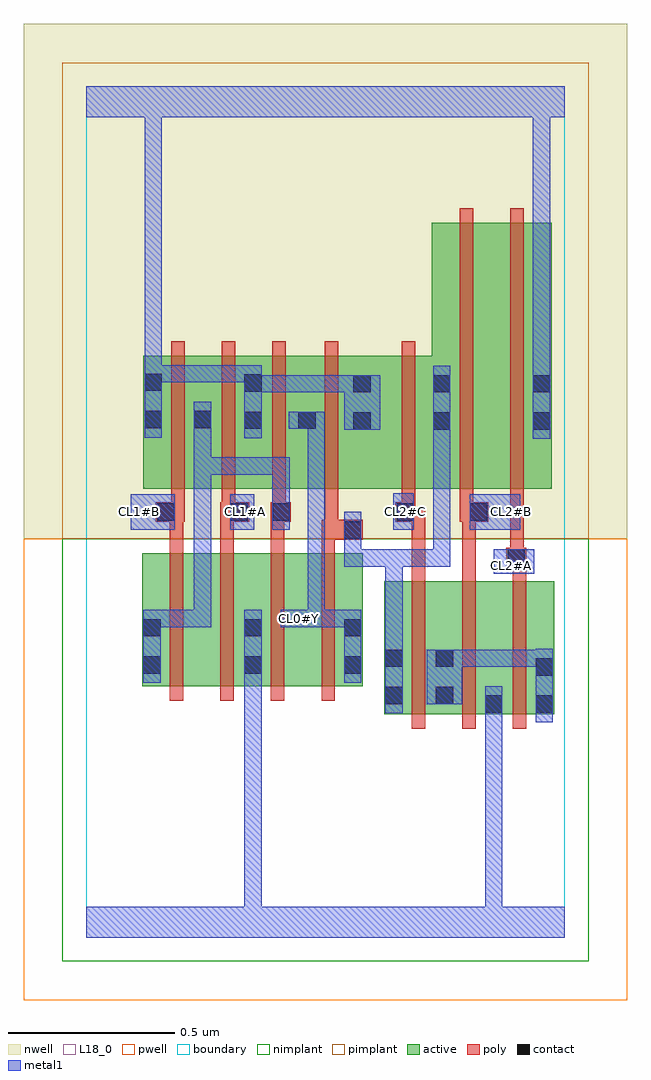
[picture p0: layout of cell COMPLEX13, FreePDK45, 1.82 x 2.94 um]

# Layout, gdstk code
import gdstk
lib = gdstk.Library(unit=1e-6, precision=1e-09)
def R(c, l, rs):  # rectangles x0, y0, x1, y1
    for r in rs: c.add(gdstk.rectangle(r[:2], r[2:], *l))
def A(c, l, x, y, w, h, nx, ny, dx, dy):  # array of equal rectangles
    R(c, l, [(x+i*dx, y+j*dy, x+i*dx+w, y+j*dy+h) for i in range(nx) for j in range(ny)])
active = (1, 0)
pwell = (2, 0)
nwell = (3, 0)
nimplant = (4, 0)
pimplant = (5, 0)
poly = (9, 0)
contact = (10, 0)
metal1 = (11, 0)
L18_0 = (18, 0)
boundary = (235, 0)

complex13 = lib.new_cell('COMPLEX13')
R(complex13, active, [(0.896,0.672,0.956,1.072), (0.896,0.672,1.108,1.072), (1.048,0.672,1.256,1.072), (1.048,0.672,1.108,1.062), (1.196,0.672,1.408,1.072), (1.196,0.672,1.256,0.902), (1.348,0.672,1.408,1.072), (0.168,0.756,0.228,1.156), (0.168,0.756,0.348,1.156), (0.348,0.756,0.532,1.156), (0.472,0.756,0.652,1.156), (0.472,0.756,0.532,0.962), (0.652,0.756,0.832,1.156), (0.772,0.756,0.832,1.156), (0.172,1.35,0.232,1.75), (0.172,1.35,0.38,1.75), (0.32,1.35,0.38,1.75), (0.32,1.35,0.532,1.75), (0.472,1.35,0.694,1.75), (0.634,1.35,0.694,1.75), (0.634,1.35,0.86,1.75), (0.8,1.35,0.86,1.75), (0.8,1.35,1.1,1.75), (1.04,1.35,1.22,2.15), (1.04,1.35,1.1,2.128), (1.22,1.35,1.4,2.15), (1.34,1.35,1.4,2.15), (0.472,1.366,0.532,1.75)])
R(complex13, pwell, [(-0.188,-0.188,1.628,1.2)])
R(complex13, nwell, [(-0.188,1.2,1.628,2.748)])
R(complex13, nimplant, [(-0.072,-0.072,1.512,1.2)])
R(complex13, pimplant, [(-0.072,1.2,1.512,2.632)])
A(complex13, poly, 0.98, 0.628, 0.04, 0.488, 3, 1, 0.152, 0)
A(complex13, poly, 0.252, 0.712, 0.04, 0.488, 4, 1, 0.152, 0)
A(complex13, poly, 0.252, 1.16, 0.04, 0.13, 3, 1, 0.152, 0)
A(complex13, poly, 0.256, 1.27, 0.04, 0.076, 3, 1, 0.152, 0)
A(complex13, poly, 0.256, 1.306, 0.04, 0.488, 3, 1, 0.152, 0)
R(complex13, poly, [(0.98,1.076,1.02,1.29), (1.132,1.076,1.172,1.29), (1.284,1.076,1.324,1.152), (1.264,1.112,1.324,1.172), (1.276,1.132,1.316,1.346), (1.276,1.132,1.316,1.172), (1.276,1.132,1.316,1.172), (0.708,1.16,0.748,1.236), (0.708,1.196,0.832,1.256), (0.718,1.216,0.758,1.256), (0.718,1.216,0.758,1.256), (0.718,1.216,0.758,1.346), (0.21,1.25,0.296,1.31), (0.252,1.25,0.292,1.29), (0.252,1.25,0.292,1.29), (0.404,1.25,0.49,1.31), (0.556,1.25,0.596,1.29), (0.556,1.25,0.596,1.29), (0.556,1.25,0.616,1.31), (0.93,1.25,0.99,1.31), (0.95,1.25,0.99,1.29), (0.95,1.25,1.02,1.29), (1.124,1.25,1.21,1.31), (1.132,1.25,1.172,1.29), (1.132,1.25,1.172,1.29), (0.408,1.27,0.448,1.31), (0.408,1.27,0.448,1.31), (0.95,1.27,0.99,1.346), (1.124,1.27,1.164,1.346), (0.718,1.306,0.758,1.794), (0.95,1.306,0.99,1.794), (1.124,1.306,1.164,2.194), (1.276,1.306,1.316,2.194)])
R(complex13, contact, [(1.2,0.676,1.252,0.728), (1.352,0.676,1.404,0.728), (0.9,0.702,0.952,0.754), (1.052,0.702,1.104,0.754), (1.352,0.788,1.404,0.84), (0.172,0.794,0.224,0.846), (0.476,0.794,0.528,0.846), (0.776,0.794,0.828,0.846), (0.9,0.814,0.952,0.866), (1.052,0.814,1.104,0.866), (0.172,0.906,0.224,0.958), (0.476,0.906,0.528,0.958), (0.776,0.906,0.828,0.958), (1.268,1.116,1.32,1.168), (0.776,1.2,0.828,1.252), (0.214,1.254,0.266,1.306), (0.434,1.254,0.486,1.306), (0.56,1.254,0.612,1.306), (0.934,1.254,0.986,1.306), (1.154,1.254,1.206,1.306), (0.804,1.528,0.856,1.58), (1.044,1.528,1.096,1.58), (1.344,1.528,1.396,1.58), (0.476,1.53,0.528,1.582), (0.638,1.53,0.69,1.582), (0.176,1.532,0.228,1.584), (0.324,1.532,0.376,1.584), (0.804,1.64,0.856,1.692), (1.044,1.64,1.096,1.692), (1.344,1.64,1.396,1.692), (0.476,1.642,0.528,1.694), (0.176,1.644,0.228,1.696)])
R(complex13, metal1, [(0,0,1.44,0.092), (0.476,0.04,0.528,0.092), (0.476,0.04,0.528,0.092), (0.476,0.04,0.528,0.092), (0.476,0.04,0.528,0.092), (0.476,0.04,0.528,0.092), (0.476,0.04,0.528,0.092), (0.476,0.04,0.528,0.092), (0.476,0.04,0.528,0.092), (0.476,0.04,0.528,0.092), (0.476,0.04,0.528,0.092), (0.476,0.04,0.528,0.092), (0.476,0.04,0.528,0.092), (0.476,0.04,0.528,0.818), (1.2,0.04,1.252,0.092), (1.2,0.04,1.252,0.092), (1.2,0.04,1.252,0.092), (1.2,0.04,1.252,0.092), (1.2,0.04,1.252,0.092), (1.2,0.04,1.252,0.092), (1.2,0.04,1.252,0.092), (1.2,0.04,1.252,0.092), (1.2,0.04,1.252,0.092), (1.2,0.04,1.252,0.092), (1.2,0.04,1.252,0.092), (1.2,0.04,1.252,0.092), (1.2,0.04,1.252,0.7), (1.2,0.648,1.252,0.756), (1.352,0.648,1.404,0.868), (0.9,0.674,0.952,0.894), (1.024,0.702,1.132,0.866), (0.172,0.766,0.224,0.986), (0.476,0.766,0.528,0.986), (0.776,0.766,0.828,0.986), (1.08,0.814,1.132,0.866), (1.08,0.814,1.132,0.866), (1.08,0.814,1.286,0.866), (1.234,0.814,1.286,0.866), (1.234,0.814,1.404,0.866), (1.352,0.814,1.404,0.866), (1.352,0.814,1.404,0.866), (0.9,0.842,0.952,1.168), (0.172,0.934,0.224,0.986), (0.172,0.934,0.224,0.986), (0.172,0.934,0.224,0.986), (0.172,0.934,0.224,0.986), (0.172,0.934,0.376,0.986), (0.324,0.934,0.376,0.986), (0.324,0.934,0.376,1.444), (0.586,0.934,0.718,0.986), (0.666,0.934,0.718,0.986), (0.666,0.934,0.718,0.986), (0.666,0.934,0.828,0.986), (0.666,0.934,0.718,1.582), (0.776,0.934,0.828,0.986), (0.776,0.934,0.828,0.986), (1.226,1.094,1.348,1.168), (0.776,1.116,0.828,1.224), (0.776,1.116,0.952,1.168), (0.9,1.116,0.952,1.168), (0.9,1.116,0.952,1.168), (0.9,1.116,0.952,1.168), (0.9,1.116,1.096,1.168), (1.044,1.116,1.096,1.168), (1.044,1.116,1.096,1.552), (0.776,1.172,0.828,1.224), (0.776,1.172,0.828,1.28), (0.134,1.226,0.266,1.334), (0.434,1.226,0.506,1.334), (0.56,1.226,0.612,1.444), (0.924,1.226,0.986,1.336), (1.154,1.226,1.306,1.334), (0.324,1.392,0.376,1.444), (0.324,1.392,0.376,1.444), (0.324,1.392,0.376,1.444), (0.324,1.392,0.528,1.444), (0.324,1.392,0.376,1.556), (0.476,1.392,0.528,1.444), (0.476,1.392,0.612,1.444), (1.044,1.5,1.096,1.552), (1.044,1.5,1.096,1.552), (1.044,1.5,1.096,1.72), (1.344,1.5,1.396,1.72), (0.476,1.502,0.528,1.722), (0.176,1.504,0.228,1.724), (0.324,1.504,0.376,1.612), (0.776,1.528,0.884,1.692), (0.61,1.53,0.718,1.582), (0.666,1.53,0.718,1.582), (0.666,1.53,0.718,1.582), (0.476,1.64,0.638,1.692), (0.586,1.64,0.638,1.692), (0.586,1.64,0.638,1.692), (0.586,1.64,0.638,1.692), (0.586,1.64,0.828,1.692), (0.776,1.64,0.828,1.692), (0.776,1.64,0.828,1.692), (1.344,1.668,1.396,2.52), (0.176,1.67,0.228,1.722), (0.176,1.67,0.228,1.722), (0.176,1.67,0.418,1.722), (0.366,1.67,0.418,1.722), (0.366,1.67,0.418,1.722), (0.366,1.67,0.418,1.722), (0.366,1.67,0.528,1.722), (0.176,1.672,0.228,1.724), (0.176,1.672,0.228,1.724), (0.176,1.672,0.228,1.724), (0.176,1.672,0.228,1.724), (0.176,1.672,0.228,2.52), (0,2.468,1.44,2.56), (0.176,2.468,0.228,2.52), (0.176,2.468,0.228,2.52), (0.176,2.468,0.228,2.52), (0.176,2.468,0.228,2.52), (0.176,2.468,0.228,2.52), (0.176,2.468,0.228,2.52), (0.176,2.468,0.228,2.52), (0.176,2.468,0.228,2.52), (0.176,2.468,0.228,2.52), (0.176,2.468,0.228,2.52), (0.176,2.468,0.228,2.52), (0.176,2.468,0.228,2.52), (1.344,2.468,1.396,2.52), (1.344,2.468,1.396,2.52), (1.344,2.468,1.396,2.52), (1.344,2.468,1.396,2.52), (1.344,2.468,1.396,2.52), (1.344,2.468,1.396,2.52), (1.344,2.468,1.396,2.52), (1.344,2.468,1.396,2.52)])
R(complex13, L18_0, [(0,0,1.44,0.092), (0.476,0.04,0.528,0.092), (0.476,0.04,0.528,0.092), (0.476,0.04,0.528,0.092), (0.476,0.04,0.528,0.092), (0.476,0.04,0.528,0.092), (0.476,0.04,0.528,0.092), (0.476,0.04,0.528,0.092), (0.476,0.04,0.528,0.092), (0.476,0.04,0.528,0.092), (0.476,0.04,0.528,0.092), (0.476,0.04,0.528,0.092), (0.476,0.04,0.528,0.092), (0.476,0.04,0.528,0.818), (1.2,0.04,1.252,0.092), (1.2,0.04,1.252,0.092), (1.2,0.04,1.252,0.092), (1.2,0.04,1.252,0.092), (1.2,0.04,1.252,0.092), (1.2,0.04,1.252,0.092), (1.2,0.04,1.252,0.092), (1.2,0.04,1.252,0.092), (1.2,0.04,1.252,0.092), (1.2,0.04,1.252,0.092), (1.2,0.04,1.252,0.092), (1.2,0.04,1.252,0.092), (1.2,0.04,1.252,0.7), (1.2,0.648,1.252,0.756), (0.476,0.766,0.528,0.986), (0.776,0.766,0.828,0.986), (0.586,0.934,0.718,0.986), (0.614,0.934,0.666,0.986), (0.666,0.934,0.718,0.986), (0.666,0.934,0.718,0.986), (0.666,0.934,0.828,0.986), (0.666,0.934,0.718,1.582), (0.776,0.934,0.828,0.986), (0.776,0.934,0.828,0.986), (1.226,1.094,1.348,1.168), (1.254,1.094,1.306,1.146), (0.134,1.226,0.266,1.334), (0.434,1.226,0.506,1.334), (0.924,1.226,0.986,1.336), (1.154,1.226,1.306,1.334), (0.134,1.254,0.186,1.306), (0.454,1.254,0.506,1.306), (0.934,1.254,0.986,1.306), (1.254,1.254,1.306,1.306), (1.344,1.5,1.396,1.72), (0.476,1.502,0.528,1.722), (0.176,1.504,0.228,1.724), (0.776,1.528,0.884,1.692), (0.61,1.53,0.718,1.582), (0.666,1.53,0.718,1.582), (0.666,1.53,0.718,1.582), (0.476,1.64,0.638,1.692), (0.586,1.64,0.638,1.692), (0.586,1.64,0.638,1.692), (0.586,1.64,0.638,1.692), (0.586,1.64,0.828,1.692), (0.776,1.64,0.828,1.692), (0.776,1.64,0.828,1.692), (1.344,1.668,1.396,2.52), (0.176,1.67,0.228,1.722), (0.176,1.67,0.228,1.722), (0.176,1.67,0.418,1.722), (0.366,1.67,0.418,1.722), (0.366,1.67,0.418,1.722), (0.366,1.67,0.418,1.722), (0.366,1.67,0.528,1.722), (0.176,1.672,0.228,1.724), (0.176,1.672,0.228,1.724), (0.176,1.672,0.228,1.724), (0.176,1.672,0.228,1.724), (0.176,1.672,0.228,2.52), (0,2.468,1.44,2.56), (0.176,2.468,0.228,2.52), (0.176,2.468,0.228,2.52), (0.176,2.468,0.228,2.52), (0.176,2.468,0.228,2.52), (0.176,2.468,0.228,2.52), (0.176,2.468,0.228,2.52), (0.176,2.468,0.228,2.52), (0.176,2.468,0.228,2.52), (0.176,2.468,0.228,2.52), (0.176,2.468,0.228,2.52), (0.176,2.468,0.228,2.52), (0.176,2.468,0.228,2.52), (1.344,2.468,1.396,2.52), (1.344,2.468,1.396,2.52), (1.344,2.468,1.396,2.52), (1.344,2.468,1.396,2.52), (1.344,2.468,1.396,2.52), (1.344,2.468,1.396,2.52), (1.344,2.468,1.396,2.52), (1.344,2.468,1.396,2.52)])
R(complex13, boundary, [(0,0,1.44,2.56)])
complex13.add(gdstk.Label('CL0#Y', (0.64,0.96), layer=11, texttype=0))
complex13.add(gdstk.Label('CL1#A', (0.48,1.28), layer=11, texttype=0))
complex13.add(gdstk.Label('CL1#B', (0.16,1.28), layer=11, texttype=0))
complex13.add(gdstk.Label('CL2#A', (1.28,1.12), layer=11, texttype=0))
complex13.add(gdstk.Label('CL2#B', (1.28,1.28), layer=11, texttype=0))
complex13.add(gdstk.Label('CL2#C', (0.96,1.28), layer=11, texttype=0))

lib.write_gds('COMPLEX13.gds')
